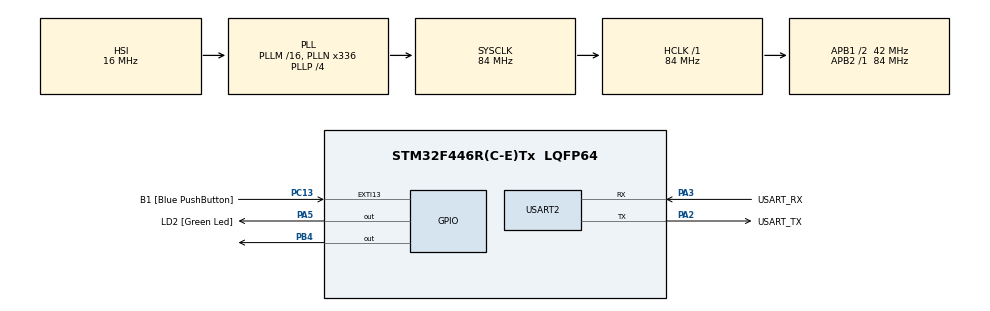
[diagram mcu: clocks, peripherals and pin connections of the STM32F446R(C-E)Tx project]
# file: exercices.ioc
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Mcu.Family=STM32F4
Mcu.Name=STM32F446R(C-E)Tx
Mcu.Package=LQFP64
NVIC.PriorityGroup=NVIC_PRIORITYGROUP_0
NVIC.USART2_IRQn=true\:0\:0\:false\:false\:true\:true\:true\:true
PA13.GPIO_Label=TMS
PA13.Mode=Serial_Wire
PA13.Signal=SYS_JTMS-SWDIO
PA14.GPIO_Label=TCK
PA14.Mode=Serial_Wire
PA14.Signal=SYS_JTCK-SWCLK
PA2.GPIO_Label=USART_TX
PA2.Mode=Asynchronous
PA2.Signal=USART2_TX
PA3.GPIO_Label=USART_RX
PA3.Mode=Asynchronous
PA3.Signal=USART2_RX
PA5.GPIO_Label=LD2 [Green Led]
PA5.Signal=GPIO_Output
PB3.GPIO_Label=SWO
PB3.Signal=SYS_JTDO-SWO
PB4.Signal=GPIO_Output
PC13.GPIO_Label=B1 [Blue PushButton]
PC13.GPIO_ModeDefaultEXTI=GPIO_MODE_IT_FALLING
PC13.Signal=GPXTI13
PC14-OSC32_IN.Mode=LSE-External-Oscillator
PC14-OSC32_IN.Signal=RCC_OSC32_IN
PC15-OSC32_OUT.Mode=LSE-External-Oscillator
PC15-OSC32_OUT.Signal=RCC_OSC32_OUT
PH0-OSC_IN.Mode=HSE-External-Oscillator
PH0-OSC_IN.Signal=RCC_OSC_IN
PH1-OSC_OUT.Mode=HSE-External-Oscillator
PH1-OSC_OUT.Signal=RCC_OSC_OUT
ProjectManager.HeapSize=0x200
ProjectManager.StackSize=0x400
ProjectManager.TargetToolchain=STM32CubeIDE
RCC.48MHZClocksFreq_Value=84000000
RCC.AHBFreq_Value=84000000
RCC.APB1CLKDivider=RCC_HCLK_DIV2
RCC.APB1Freq_Value=42000000
RCC.APB1TimFreq_Value=84000000
RCC.APB2Freq_Value=84000000
RCC.APB2TimFreq_Value=84000000
RCC.CortexFreq_Value=84000000
RCC.FLatency-AdvancedSettings=FLASH_LATENCY_2
RCC.HCLKFreq_Value=84000000
RCC.HSE_VALUE=8000000
RCC.HSI_VALUE=16000000
RCC.PLLN=336
RCC.PLLP=RCC_PLLP_DIV4
RCC.SYSCLKFreq_VALUE=84000000
RCC.SYSCLKSource=RCC_SYSCLKSOURCE_PLLCLK
RCC.USBFreq_Value=168000000
RCC.VCOOutputFreq_Value=336000000
USART2.VirtualMode=VM_ASYNC
board=NUCLEO-F446RE

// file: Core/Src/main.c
/* USER CODE BEGIN Header */
/**
  ******************************************************************************
  * @file           : main.c
  * @brief          : Main program body
  ******************************************************************************
  * @attention
  *
  * Copyright (c) 2023 STMicroelectronics.
  * All rights reserved.
  *
  * This software is licensed under terms that can be found in the LICENSE file
  * in the root directory of this software component.
  * If no LICENSE file comes with this software, it is provided AS-IS.
  *
  ******************************************************************************
  */
/* USER CODE END Header */
#include "main.h"

UART_HandleTypeDef huart2;

/* USER CODE BEGIN PV */
uint8_t tx_buffer[27]="Welcome to BinaryUpdates\n\r";
uint8_t rx_indx;
uint8_t rx_data[2];
uint8_t rx_buffer[100];
uint8_t transfer_cplt;
/* USER CODE END PV */

void SystemClock_Config(void);
static void MX_GPIO_Init(void);
static void MX_USART2_UART_Init(void);

int main(void)
{

  /* MCU Configuration--------------------------------------------------------*/

  /* Reset of all peripherals, Initializes the Flash interface and the Systick. */
  HAL_Init();

  /* Configure the system clock */
  SystemClock_Config();

  /* Initialize all configured peripherals */
  MX_GPIO_Init();
  MX_USART2_UART_Init();
  /* USER CODE BEGIN 2 */
  HAL_UART_Receive_IT(&huart2,rx_data,1);
  /* USER CODE END 2 */

  /* Infinite loop */
  while (1)
  {

  }
}

void SystemClock_Config(void)
{
  RCC_OscInitTypeDef RCC_OscInitStruct = {0};
  RCC_ClkInitTypeDef RCC_ClkInitStruct = {0};

  /** Configure the main internal regulator output voltage
  */
  __HAL_RCC_PWR_CLK_ENABLE();
  __HAL_PWR_VOLTAGESCALING_CONFIG(PWR_REGULATOR_VOLTAGE_SCALE3);

  /** Initializes the RCC Oscillators according to the specified parameters
  * in the RCC_OscInitTypeDef structure.
  */
  RCC_OscInitStruct.OscillatorType = RCC_OSCILLATORTYPE_HSI;
  RCC_OscInitStruct.HSIState = RCC_HSI_ON;
  RCC_OscInitStruct.HSICalibrationValue = RCC_HSICALIBRATION_DEFAULT;
  RCC_OscInitStruct.PLL.PLLState = RCC_PLL_ON;
  RCC_OscInitStruct.PLL.PLLSource = RCC_PLLSOURCE_HSI;
  RCC_OscInitStruct.PLL.PLLM = 16;
  RCC_OscInitStruct.PLL.PLLN = 336;
  RCC_OscInitStruct.PLL.PLLP = RCC_PLLP_DIV4;
  RCC_OscInitStruct.PLL.PLLQ = 2;
  RCC_OscInitStruct.PLL.PLLR = 2;
  if (HAL_RCC_OscConfig(&RCC_OscInitStruct) != HAL_OK)
  {
    Error_Handler();
  }

  /** Initializes the CPU, AHB and APB buses clocks
  */
  RCC_ClkInitStruct.ClockType = RCC_CLOCKTYPE_HCLK|RCC_CLOCKTYPE_SYSCLK
                              |RCC_CLOCKTYPE_PCLK1|RCC_CLOCKTYPE_PCLK2;
  RCC_ClkInitStruct.SYSCLKSource = RCC_SYSCLKSOURCE_PLLCLK;
  RCC_ClkInitStruct.AHBCLKDivider = RCC_SYSCLK_DIV1;
  RCC_ClkInitStruct.APB1CLKDivider = RCC_HCLK_DIV2;
  RCC_ClkInitStruct.APB2CLKDivider = RCC_HCLK_DIV1;

  if (HAL_RCC_ClockConfig(&RCC_ClkInitStruct, FLASH_LATENCY_2) != HAL_OK)
  {
    Error_Handler();
  }
}

static void MX_USART2_UART_Init(void)
{

  huart2.Instance = USART2;
  huart2.Init.BaudRate = 115200;
  huart2.Init.WordLength = UART_WORDLENGTH_8B;
  huart2.Init.StopBits = UART_STOPBITS_1;
  huart2.Init.Parity = UART_PARITY_NONE;
  huart2.Init.Mode = UART_MODE_TX_RX;
  huart2.Init.HwFlowCtl = UART_HWCONTROL_NONE;
  huart2.Init.OverSampling = UART_OVERSAMPLING_16;
  if (HAL_UART_Init(&huart2) != HAL_OK)
  {
    Error_Handler();
  }

}

static void MX_GPIO_Init(void)
{
  GPIO_InitTypeDef GPIO_InitStruct = {0};

  /* GPIO Ports Clock Enable */
  __HAL_RCC_GPIOC_CLK_ENABLE();
  __HAL_RCC_GPIOH_CLK_ENABLE();
  __HAL_RCC_GPIOA_CLK_ENABLE();
  __HAL_RCC_GPIOB_CLK_ENABLE();

  /*Configure GPIO pin Output Level */
  HAL_GPIO_WritePin(LD2_GPIO_Port, LD2_Pin, GPIO_PIN_RESET);

  /*Configure GPIO pin Output Level */
  HAL_GPIO_WritePin(GPIOB, GPIO_PIN_4, GPIO_PIN_RESET);

  /*Configure GPIO pin : B1_Pin */
  GPIO_InitStruct.Pin = B1_Pin;
  GPIO_InitStruct.Mode = GPIO_MODE_IT_FALLING;
  GPIO_InitStruct.Pull = GPIO_NOPULL;
  HAL_GPIO_Init(B1_GPIO_Port, &GPIO_InitStruct);

  /*Configure GPIO pin : LD2_Pin */
  GPIO_InitStruct.Pin = LD2_Pin;
  GPIO_InitStruct.Mode = GPIO_MODE_OUTPUT_PP;
  GPIO_InitStruct.Pull = GPIO_NOPULL;
  GPIO_InitStruct.Speed = GPIO_SPEED_FREQ_LOW;
  HAL_GPIO_Init(LD2_GPIO_Port, &GPIO_InitStruct);

  /*Configure GPIO pin : PB4 */
  GPIO_InitStruct.Pin = GPIO_PIN_4;
  GPIO_InitStruct.Mode = GPIO_MODE_OUTPUT_PP;
  GPIO_InitStruct.Pull = GPIO_NOPULL;
  GPIO_InitStruct.Speed = GPIO_SPEED_FREQ_LOW;
  HAL_GPIO_Init(GPIOB, &GPIO_InitStruct);

}

/* USER CODE BEGIN 4 */
void HAL_UART_RxCpltCallback(UART_HandleTypeDef *huart)
{

 /* Prevent unused argument(s) compilation warning */
 UNUSED(huart);
// HAL_UART_Transmit(&huart2,rx_data,6,10);

 /* NOTE: This function should not be modified, when the callback is needed,
          the HAL_UART_RxCpltCallback could be implemented in the user file
  */
uint8_t i;
if(huart->Instance==USART2)
{
	if(rx_indx==0){
		for(i=0;i<100;i++)
			rx_buffer[i]=0;
	}
	if(rx_data[0]!=13){
		rx_buffer[rx_indx++]=rx_data[0];
	}else{
		rx_indx=0;
		transfer_cplt=1;
		HAL_UART_Transmit(&huart2, "\n\r", 2, 100);
		if(!strcmp(rx_buffer, "LED ON"))
		{
			HAL_GPIO_WritePin(GPIOB,GPIO_PIN_4,GPIO_PIN_SET);
		}else if (!strcmp(rx_buffer, "LED OFF")){
			HAL_GPIO_WritePin(GPIOB,GPIO_PIN_4,GPIO_PIN_RESET);
		}
	}
	HAL_UART_Receive_IT(&huart2,rx_data,1);
	HAL_UART_Transmit(&huart2,rx_data, strlen(rx_data),100);
}
}

/* USER CODE END 4 */

void Error_Handler(void)
{
  __disable_irq();
  while (1)
  {
  }
}
